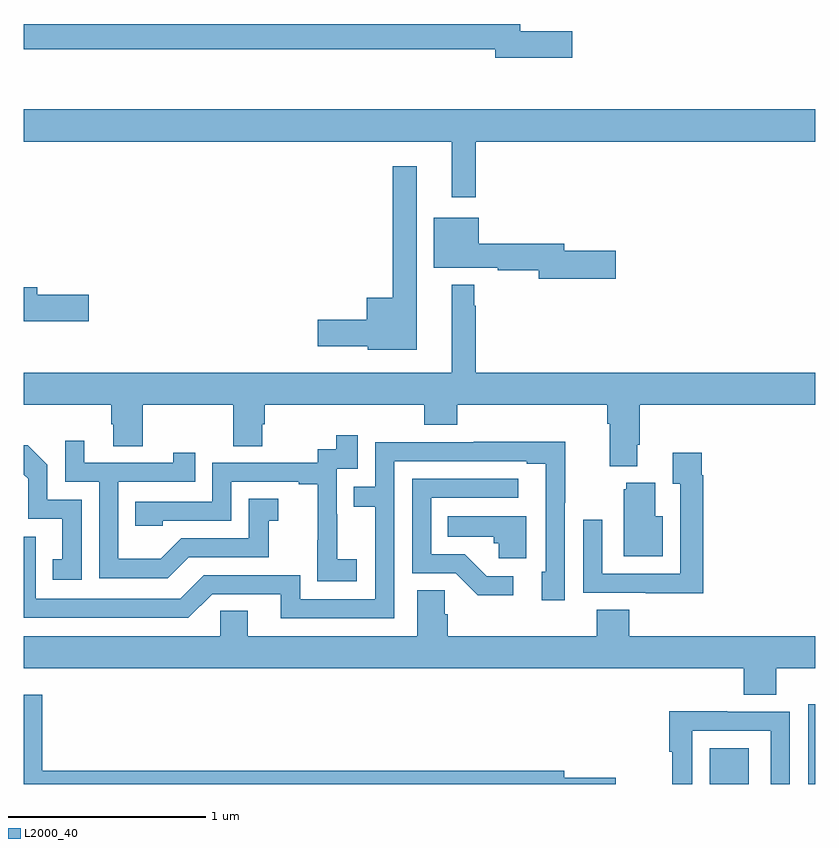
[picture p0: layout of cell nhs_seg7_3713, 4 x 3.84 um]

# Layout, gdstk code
import gdstk
lib = gdstk.Library(unit=1e-6, precision=1e-09)
def R(c, l, rs):  # rectangles x0, y0, x1, y1
    for r in rs: c.add(gdstk.rectangle(r[:2], r[2:], *l))
def P(c, l, *ps):  # polygons
    for p in ps: c.add(gdstk.Polygon(p, *l))
L2000_40 = (2000, 40)

nhs_seg7_3713 = lib.new_cell('nhs_seg7_3713')
R(nhs_seg7_3713, L2000_40, [(350.468,1032,350.665,1032.181), (350.964,1032,351,1032.403)])
P(nhs_seg7_3713, L2000_40, [(349.771,1035.805),(349.51,1035.805),(349.51,1035.842),(347,1035.842),(347,1035.714),(349.382,1035.714),(349.382,1035.671),(349.771,1035.671)],
  [(349.285,1035.248),(351,1035.248),(351,1035.412),(347,1035.412),(347,1035.248),(349.163,1035.248),(349.163,1034.967),(349.285,1034.967)],
  [(348.985,1035.124),(348.864,1035.124),(348.864,1034.458),(348.734,1034.458),(348.734,1034.348),(348.486,1034.348),(348.486,1034.213),(348.738,1034.213),(348.738,1034.195),(348.985,1034.195)],
  [(349.993,1034.696),(349.732,1034.696),(349.732,1034.732),(349.3,1034.732),(349.3,1034.863),(349.073,1034.863),(349.073,1034.609),(349.396,1034.609),(349.396,1034.596),(349.604,1034.596),(349.604,1034.554),(349.993,1034.554)],
  [(350.101,1033.714),(350.114,1033.714),(350.114,1033.916),(351,1033.916),(351,1034.08),(349.285,1034.08),(349.285,1034.417),(349.278,1034.417),(349.278,1034.524),(349.163,1034.524),(349.163,1034.08),(347,1034.08),(347,1033.916),(347.441,1033.916),(347.441,1033.818),(347.453,1033.818),(347.453,1033.708),(347.601,1033.708),(347.601,1033.916),(348.058,1033.916),(348.058,1033.708),(348.205,1033.708),(348.205,1033.818),(348.218,1033.818),(348.218,1033.916),(349.025,1033.916),(349.025,1033.817),(349.19,1033.817),(349.19,1033.916),(349.949,1033.916),(349.949,1033.82),(349.961,1033.82),(349.961,1033.607),(350.101,1033.607)],
  [(347.329,1034.474),(347.068,1034.474),(347.068,1034.51),(347,1034.51),(347,1034.339),(347.329,1034.339)],
  [(348.682,1033.135),(348.584,1033.135),(348.584,1033.364),(348.582,1033.364),(348.582,1033.593),(348.687,1033.593),(348.687,1033.762),(348.579,1033.762),(348.579,1033.692),(348.486,1033.692),(348.486,1033.623),(347.952,1033.623),(347.952,1033.428),(347.563,1033.428),(347.563,1033.305),(347.703,1033.305),(347.703,1033.332),(348.048,1033.332),(348.048,1033.527),(348.389,1033.527),(348.389,1033.515),(348.485,1033.515),(348.485,1033.231),(348.484,1033.231),(348.484,1033.025),(348.682,1033.025)],
  [(347.833,1033.146),(348.237,1033.146),(348.237,1033.331),(348.286,1033.331),(348.286,1033.441),(348.138,1033.441),(348.138,1033.242),(347.796,1033.242),(347.692,1033.138),(347.478,1033.138),(347.478,1033.527),(347.867,1033.527),(347.867,1033.675),(347.756,1033.675),(347.756,1033.623),(347.305,1033.623),(347.305,1033.735),(347.208,1033.735),(347.208,1033.527),(347.382,1033.527),(347.382,1033.041),(347.728,1033.041)],
  [(348.873,1033.632),(349.541,1033.632),(349.541,1033.62),(349.638,1033.62),(349.638,1033.074),(349.619,1033.074),(349.619,1032.93),(349.734,1032.93),(349.734,1033.423),(349.737,1033.423),(349.737,1033.73),(349.273,1033.73),(349.273,1033.728),(348.777,1033.728),(348.777,1033.503),(348.667,1033.503),(348.667,1033.402),(348.777,1033.402),(348.777,1032.933),(348.396,1032.933),(348.396,1033.056),(347.91,1033.056),(347.79,1032.936),(347.061,1032.936),(347.061,1033.251),(347,1033.251),(347,1032.84),(347.832,1032.84),(347.952,1032.96),(348.299,1032.96),(348.299,1032.837),(348.873,1032.837)],
  [(347.292,1033.437),(347.118,1033.437),(347.118,1033.614),(347.02,1033.712),(347,1033.712),(347,1033.564),(347.022,1033.542),(347.022,1033.341),(347.195,1033.341),(347.195,1033.137),(347.146,1033.137),(347.146,1033.032),(347.292,1033.032)],
  [(350.435,1033.562),(350.428,1033.562),(350.428,1033.675),(350.279,1033.675),(350.279,1033.519),(350.319,1033.519),(350.319,1033.062),(349.923,1033.062),(349.923,1033.336),(349.827,1033.336),(349.827,1032.966),(350.143,1032.966),(350.143,1032.965),(350.435,1032.965)],
  [(349.474,1033.05),(349.339,1033.05),(349.228,1033.161),(349.059,1033.161),(349.059,1033.446),(349.498,1033.446),(349.498,1033.542),(348.963,1033.542),(348.963,1033.065),(349.182,1033.065),(349.295,1032.953),(349.474,1032.953)],
  [(350.23,1033.354),(350.191,1033.354),(350.191,1033.522),(350.045,1033.522),(350.045,1033.491),(350.033,1033.491),(350.033,1033.151),(350.23,1033.151)],
  [(349.54,1033.354),(349.144,1033.354),(349.144,1033.25),(349.375,1033.25),(349.375,1033.218),(349.401,1033.218),(349.401,1033.142),(349.54,1033.142)],
  [(350.804,1032.584),(351,1032.584),(351,1032.748),(350.06,1032.748),(350.06,1032.881),(349.895,1032.881),(349.895,1032.748),(349.142,1032.748),(349.142,1032.857),(349.128,1032.857),(349.128,1032.98),(348.989,1032.98),(348.989,1032.748),(348.133,1032.748),(348.133,1032.875),(347.994,1032.875),(347.994,1032.748),(347,1032.748),(347,1032.584),(350.639,1032.584),(350.639,1032.451),(350.804,1032.451)],
  [(349.993,1032.032),(349.732,1032.032),(349.732,1032.068),(347.093,1032.068),(347.093,1032.451),(347,1032.451),(347,1032),(349.993,1032)],
  [(350.379,1032.27),(350.775,1032.27),(350.775,1032),(350.871,1032),(350.871,1032.366),(350.555,1032.366),(350.555,1032.368),(350.263,1032.368),(350.263,1032.163),(350.278,1032.163),(350.278,1032),(350.379,1032)])

lib.write_gds('nhs_seg7_3713.gds')
